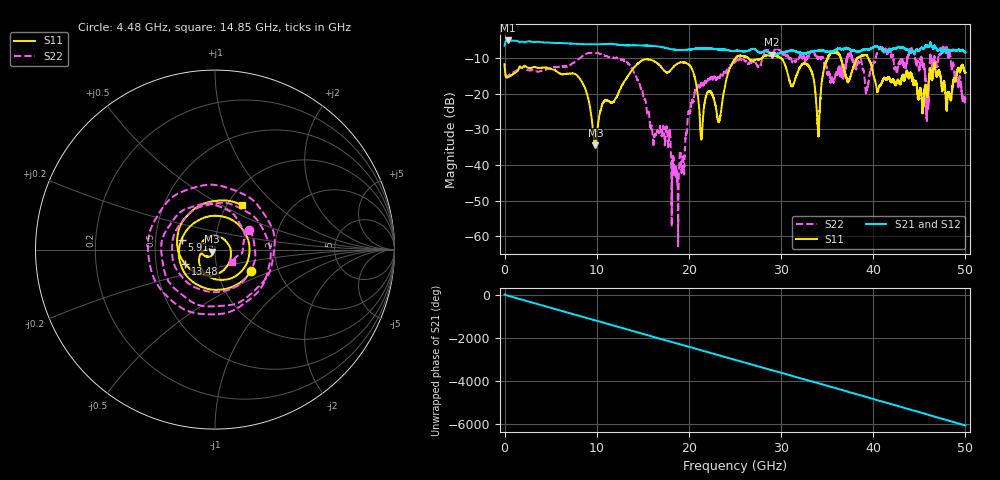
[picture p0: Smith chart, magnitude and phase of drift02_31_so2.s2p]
!Created with skrf (http://scikit-rf.org).
# Hz S RI R 50.0
!freq ReS11 ImS11 ReS21 ImS21 ReS12 ImS12 ReS22 ImS22
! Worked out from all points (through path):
!   10001 points, 300 kHz to 50 GHz, reference 50 ohm
!   highest |S21| = -5.04 dB at 325.3 MHz (marker M1); lowest = -9.0 dB at 29.05 GHz (marker M2)
!   group delay of S21, straight-line fit = 336 ps
!   lowest |S11| = -34.4 dB at 9.85 GHz (marker M3), VSWR 1.04, Z = 48.5 - j1.12 ohm
!   |S11| at or under -10 dB: start of sweep to 25.08 GHz; 29.98 GHz to 35.05 GHz (5.07 GHz wide, 15.6 % of centre); 39.47 GHz to end of sweep (the widest 3 of 8)
!   |S22| runs from -62.7 to -6.7 dB; largest |S21 - S12| = 0.021
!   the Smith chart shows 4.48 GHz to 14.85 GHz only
!   S11 on the Smith chart (normalised r, x): 4.48 GHz: 1.45, -0.36; 5.91 GHz: 0.68, +0.08; 13.48 GHz: 0.71, -0.12; 14.85 GHz: 1.17, +0.63
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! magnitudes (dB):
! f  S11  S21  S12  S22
! 300 kHz  -11.7  -6.5  -6.4  -11.5
! 325.3 MHz  -15.4  -5.0  -5.0  -15.0
! 4.48 GHz  -12.6  -5.6  -5.6  -13.2
! 5.91 GHz  -14.2  -5.7  -5.7  -12.4
! 8.335 GHz  -16.4  -6.0  -6.0  -9.6
! 9.85 GHz  -34.4  -6.1  -6.1  -8.6
! 13.48 GHz  -14.7  -6.4  -6.4  -11.6
! 14.85 GHz  -10.8  -6.4  -6.4  -18.5
! 16.67 GHz  -11.6  -6.7  -6.7  -30.8
! 18.67 GHz  -11.7  -7.7  -7.7  -41.7
! 20.37 GHz  -13.3  -7.5  -7.5  -22.0
! 21.37 GHz  -32.0  -7.2  -7.2  -17.0
! 23.3 GHz  -27.7  -7.5  -7.6  -15.5
! 25 GHz  -10.2  -8.0  -8.0  -11.2
! 29.05 GHz  -9.1  -9.0  -9.0  -8.2
! 33.34 GHz  -14.0  -8.1  -8.2  -8.1
! 34.02 GHz  -31.7  -7.9  -8.0  -10.3
! 35.51 GHz  -8.5  -8.1  -8.1  -15.4
! 41.67 GHz  -15.4  -7.7  -7.8  -7.5
! 45.85 GHz  -20.9  -6.7  -6.8  -22.5
! 47.77 GHz  -17.5  -7.6  -7.6  -7.3
! 50 GHz  -14.1  -8.4  -8.5  -20.7
